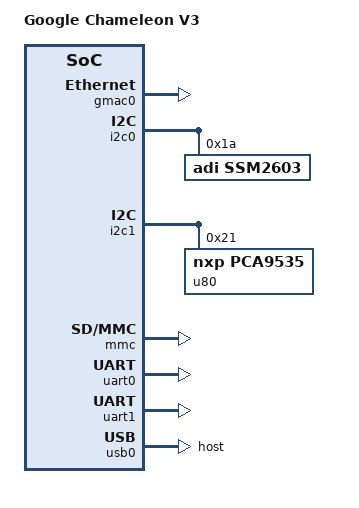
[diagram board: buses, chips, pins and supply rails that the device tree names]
// SPDX-License-Identifier: GPL-2.0
/*
 * Copyright 2022 Google LLC
 */
/dts-v1/;
#include "socfpga_arria10_mercury_aa1.dtsi"

/ {
	model = "Google Chameleon V3";
	compatible = "google,chameleon-v3", "enclustra,mercury-aa1",
		     "altr,socfpga-arria10", "altr,socfpga";

	aliases {
		serial0 = &uart0;
		i2c0 = &i2c0;
		i2c1 = &i2c1;
	};
};

&gmac0 {
	status = "okay";
};

&gpio0 {
	status = "okay";
};

&gpio1 {
	status = "okay";
};

&gpio2 {
	status = "okay";
};

&i2c0 {
	status = "okay";

	ssm2603: audio-codec@1a {
		compatible = "adi,ssm2603";
		reg = <0x1a>;
	};
};

&i2c1 {
	status = "okay";

	u80: gpio@21 {
		compatible = "nxp,pca9535";
		reg = <0x21>;
		gpio-controller;
		#gpio-cells = <2>;

		gpio-line-names =
			"SOM_AUD_MUTE",
			"DP1_OUT_CEC_EN",
			"DP2_OUT_CEC_EN",
			"DP1_SOM_PS8469_CAD",
			"DPD_SOM_PS8469_CAD",
			"DP_OUT_PWR_EN",
			"STM32_RST_L",
			"STM32_BOOT0",

			"FPGA_PROT",
			"STM32_FPGA_COMM0",
			"TP119",
			"TP120",
			"TP121",
			"TP122",
			"TP123",
			"TP124";
	};
};

&mmc {
	status = "okay";
};

&uart0 {
	status = "okay";
};

&uart1 {
	status = "okay";
};

&usb0 {
	status = "okay";
	dr_mode = "host";
};
